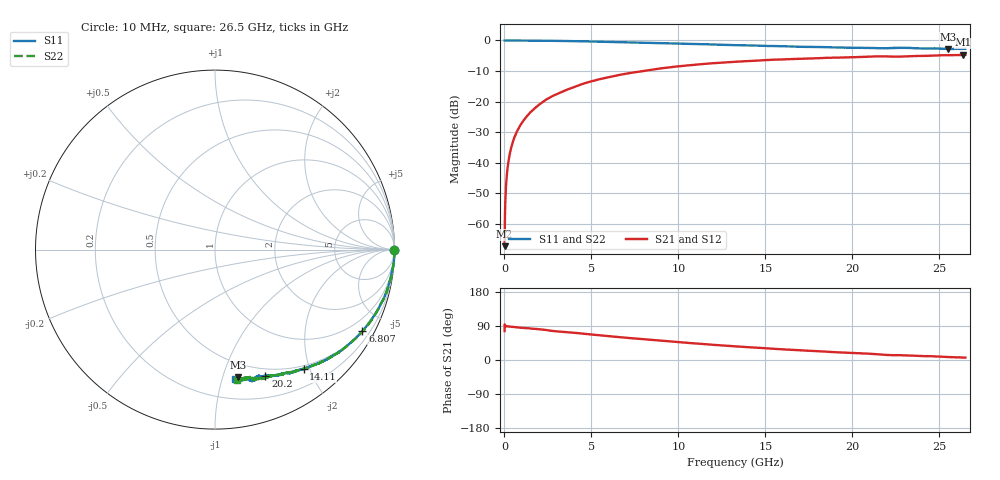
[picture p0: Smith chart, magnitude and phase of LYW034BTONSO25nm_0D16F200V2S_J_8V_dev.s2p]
!Keysight Technologies,N5222B,MY61253708,A.15.00.15
!Date: Wednesday, June 19, 2024 08:40:36
!Correction: S11(C  2-Port  )
!S21(C  2-Port  )
!S12(C  2-Port  )
!S22(C  2-Port  )
!S2P File: Measurements: S11, S21, S12, S22:
# Hz S  RI  R 50
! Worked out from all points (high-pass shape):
!   2651 points, 10 MHz to 26.5 GHz, reference 50 ohm
!   highest |S21| = -4.67 dB at 26.38 GHz (marker M1); lowest = -67.3 dB at 10 MHz (marker M2)
!   |S21| within 3 dB of the highest: 11.46984 GHz to 11.48975 GHz (19.9 MHz wide, 0.173 % of centre); 11.52 GHz to end of sweep
!   lowest |S11| = -2.8 dB at 25.5 GHz (marker M3), VSWR 6.17, Z = 19 - j56.1 ohm
!   |S11| at or under -10 dB: nowhere
!   |S22| runs from -2.7 to 0.0 dB; largest |S21 - S12| = 0.0099
!   S11 on the Smith chart (normalised r, x): 10 MHz: open; 6.807 GHz: 0.50, -3.81; 14.11 GHz: 0.45, -1.90; 20.2 GHz: 0.42, -1.39; 26.5 GHz: 0.35, -1.10
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1e7  0.9986 -0.00234  0.000103 0.00042  -0.000174 0.000168  0.9987 -0.00131
7.997358e7  0.9998 -0.00665  4.65e-05 0.00363  4.2e-05 0.00363  0.9993 -0.00618
1.499472e8  0.9997 -0.0129  9.45e-05 0.00686  0.000108 0.00676  0.9993 -0.0121
1.899321e8  0.9998 -0.0153  0.0002 0.00867  0.000175 0.00861  0.9996 -0.0145
2.399132e8  0.999 -0.0199  0.000278 0.0109  0.000263 0.0108  0.9989 -0.0189
3.298792e8  0.9989 -0.0267  0.000479 0.0149  0.000492 0.0148  0.999 -0.0255
4.598302e8  0.9983 -0.0375  0.000949 0.0208  0.000922 0.0206  0.9982 -0.0363
7.997019e8  0.9967 -0.0641  0.00273 0.0359  0.00266 0.0357  0.9961 -0.0627
1.429464e9  0.986 -0.1144  0.00706 0.0636  0.00698 0.0631  0.9892 -0.1105
2.28914e9  0.9733 -0.1761  0.0182 0.1011  0.018 0.1007  0.9752 -0.1756
3.118826e9  0.955 -0.2359  0.0353 0.1328  0.0349 0.1323  0.9558 -0.2341
4.428332e9  0.9139 -0.3225  0.0656 0.1805  0.0649 0.1801  0.9166 -0.3188
6.807434e9  0.8211 -0.4548  0.142 0.2411  0.1416 0.2409  0.8243 -0.4527
8.846664e9  0.7289 -0.5414  0.2141 0.2707  0.2138 0.2707  0.7324 -0.5391
1.3255e10  0.53 -0.6508  0.3618 0.2641  0.3622 0.2639  0.5353 -0.6499
1.411468e10  0.4936 -0.6656  0.3852 0.255  0.385 0.2548  0.5013 -0.6618
1.767333e10  0.3563 -0.6973  0.4644 0.2063  0.466 0.2051  0.3691 -0.6969
2.020238e10  0.281 -0.7042  0.5072 0.1678  0.5076 0.1652  0.2957 -0.7065
2.209166e10  0.2343 -0.707  0.5327 0.1242  0.5327 0.1227  0.2297 -0.7156
2.550038e10  0.128 -0.7097  0.5688 0.0766  0.5695 0.0786  0.1478 -0.7181
2.638005e10  0.1157 -0.721  0.5808 0.0647  0.5744 0.0664  0.1242 -0.7265
2.65e10  0.1121 -0.7236  0.5808 0.0642  0.5786 0.0624  0.1236 -0.7263
